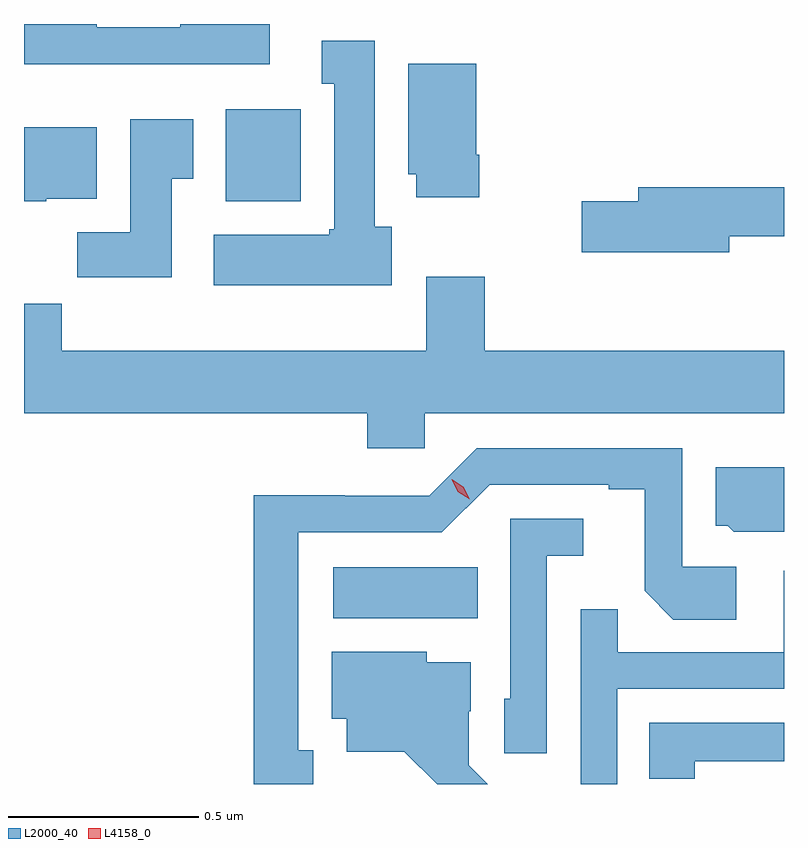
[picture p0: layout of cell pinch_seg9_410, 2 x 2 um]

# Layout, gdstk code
import gdstk
lib = gdstk.Library(unit=1e-6, precision=1e-09)
def R(c, l, rs):  # rectangles x0, y0, x1, y1
    for r in rs: c.add(gdstk.rectangle(r[:2], r[2:], *l))
def P(c, l, *ps):  # polygons
    for p in ps: c.add(gdstk.Polygon(p, *l))
L2000_40 = (2000, 40)
L4158_0 = (4158, 0)

pinch_seg9_410 = lib.new_cell('pinch_seg9_410')
R(pinch_seg9_410, L2000_40, [(322.524,1234.508,322.904,1234.642), (322.241,1235.606,322.438,1235.848)])
P(pinch_seg9_410, L2000_40, [(322.357,1236.072),(322.121,1236.072),(322.121,1236.063),(321.901,1236.063),(321.901,1236.072),(321.71,1236.072),(321.71,1235.966),(322.357,1235.966)],
  [(322.678,1235.538),(322.633,1235.538),(322.633,1236.028),(322.493,1236.028),(322.493,1235.915),(322.526,1235.915),(322.526,1235.532),(322.513,1235.532),(322.513,1235.518),(322.209,1235.518),(322.209,1235.384),(322.678,1235.384)],
  [(322.908,1235.728),(322.9,1235.728),(322.9,1235.968),(322.721,1235.968),(322.721,1235.676),(322.742,1235.676),(322.742,1235.616),(322.908,1235.616)],
  [(322.099,1235.665),(322.156,1235.665),(322.156,1235.821),(321.989,1235.821),(321.989,1235.524),(321.85,1235.524),(321.85,1235.406),(322.099,1235.406)],
  [(321.768,1235.612),(321.901,1235.612),(321.901,1235.8),(321.71,1235.8),(321.71,1235.606),(321.768,1235.606)],
  [(323.566,1235.514),(323.71,1235.514),(323.71,1235.642),(323.327,1235.642),(323.327,1235.606),(323.178,1235.606),(323.178,1235.471),(323.566,1235.471)],
  [(322.764,1235.048),(323.71,1235.048),(323.71,1235.212),(322.922,1235.212),(322.922,1235.407),(322.769,1235.407),(322.769,1235.212),(321.809,1235.212),(321.809,1235.336),(321.71,1235.336),(321.71,1235.048),(322.613,1235.048),(322.613,1234.955),(322.764,1234.955)],
  [(322.471,1234.161),(322.432,1234.161),(322.432,1234.734),(322.809,1234.734),(322.935,1234.86),(323.249,1234.86),(323.249,1234.848),(323.343,1234.848),(323.343,1234.58),(323.419,1234.504),(323.584,1234.504),(323.584,1234.644),(323.442,1234.644),(323.442,1234.956),(322.902,1234.956),(322.776,1234.83),(322.554,1234.83),(322.554,1234.832),(322.314,1234.832),(322.314,1234.072),(322.471,1234.072)],
  [(323.71,1234.906),(323.531,1234.906),(323.531,1234.752),(323.562,1234.752),(323.578,1234.736),(323.71,1234.736)],
  [(323.085,1234.673),(323.182,1234.673),(323.182,1234.77),(322.989,1234.77),(322.989,1234.296),(322.974,1234.296),(322.974,1234.153),(323.085,1234.153)],
  [(323.271,1234.323),(323.71,1234.323),(323.71,1234.633),(323.709,1234.633),(323.709,1234.419),(323.273,1234.419),(323.273,1234.532),(323.175,1234.532),(323.175,1234.072),(323.271,1234.072)],
  [(322.881,1234.122),(322.881,1234.264),(322.885,1234.264),(322.885,1234.393),(322.77,1234.393),(322.77,1234.42),(322.52,1234.42),(322.52,1234.244),(322.559,1234.244),(322.559,1234.157),(322.711,1234.157),(322.797,1234.072),(322.931,1234.072)],
  [(323.475,1234.132),(323.71,1234.132),(323.71,1234.233),(323.356,1234.233),(323.356,1234.086),(323.475,1234.086)])
P(pinch_seg9_410, L4158_0, [(322.883,1234.821),(322.852,1234.841),(322.835,1234.874),(322.835,1234.874),(322.835,1234.874),(322.866,1234.854),(322.883,1234.822),(322.883,1234.821)])

lib.write_gds('pinch_seg9_410.gds')
